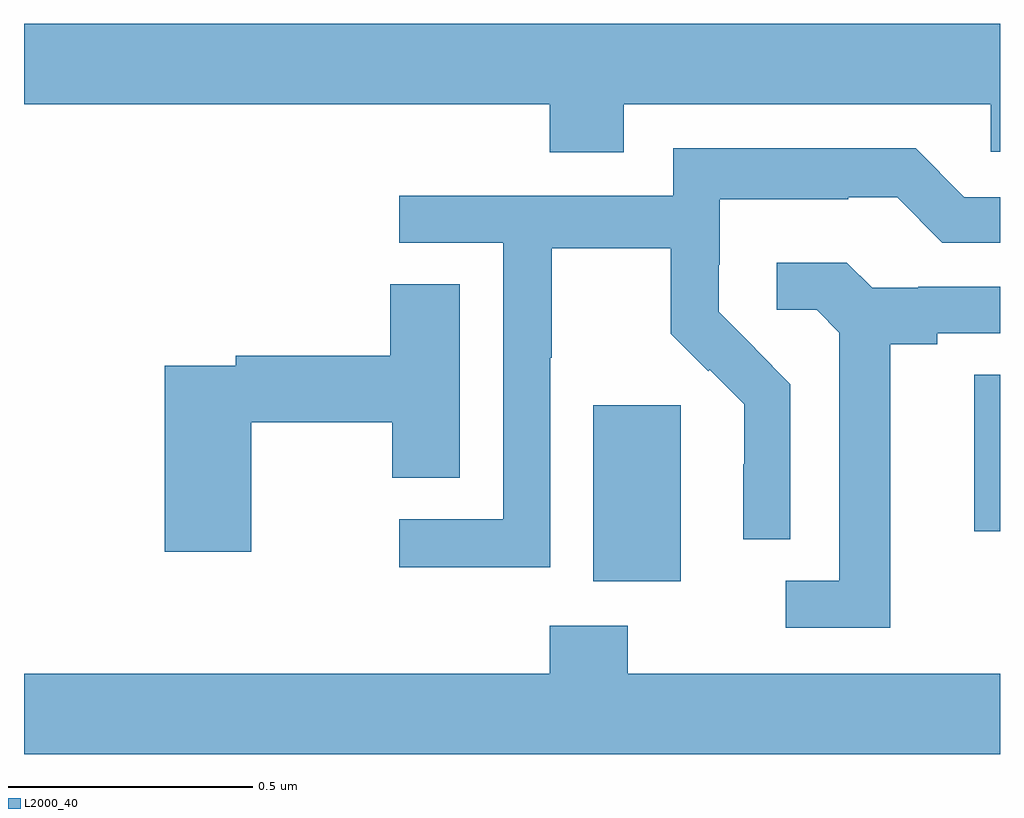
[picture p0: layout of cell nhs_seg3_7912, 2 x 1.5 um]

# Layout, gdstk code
import gdstk
lib = gdstk.Library(unit=1e-6, precision=1e-09)
def R(c, l, rs):  # rectangles x0, y0, x1, y1
    for r in rs: c.add(gdstk.rectangle(r[:2], r[2:], *l))
def P(c, l, *ps):  # polygons
    for p in ps: c.add(gdstk.Polygon(p, *l))
L2000_40 = (2000, 40)

nhs_seg3_7912 = lib.new_cell('nhs_seg3_7912')
R(nhs_seg3_7912, L2000_40, [(210.167,723.914,210.346,724.275), (210.947,724.017,211,724.337)])
P(nhs_seg3_7912, L2000_40, [(210.229,724.892),(210.981,724.892),(210.981,724.794),(211,724.794),(211,725.056),(209,725.056),(209,724.892),(210.077,724.892),(210.077,724.793),(210.229,724.793)],
  [(210.078,724.372),(210.081,724.372),(210.081,724.596),(210.325,724.596),(210.325,724.421),(210.402,724.344),(210.405,724.347),(210.476,724.277),(210.476,724.154),(210.474,724.154),(210.474,724),(210.57,724),(210.57,724.318),(210.497,724.391),(210.498,724.392),(210.424,724.466),(210.424,724.563),(210.426,724.563),(210.426,724.697),(210.689,724.697),(210.689,724.701),(210.789,724.701),(210.882,724.608),(211,724.608),(211,724.701),(210.927,724.701),(210.827,724.801),(210.33,724.801),(210.33,724.704),(209.769,724.704),(209.769,724.608),(209.982,724.608),(209.982,724.041),(209.769,724.041),(209.769,723.943),(210.078,723.943)],
  [(210.775,724.4),(210.871,724.4),(210.871,724.422),(211,724.422),(211,724.518),(210.832,724.518),(210.832,724.515),(210.738,724.515),(210.686,724.567),(210.543,724.567),(210.543,724.47),(210.624,724.47),(210.671,724.423),(210.671,723.915),(210.561,723.915),(210.561,723.819),(210.775,723.819)],
  [(209.466,724.24),(209.755,724.24),(209.755,724.126),(209.893,724.126),(209.893,724.523),(209.75,724.523),(209.75,724.376),(209.434,724.376),(209.434,724.356),(209.288,724.356),(209.288,723.975),(209.466,723.975)],
  [(211,723.724),(210.237,723.724),(210.237,723.823),(210.077,723.823),(210.077,723.724),(209,723.724),(209,723.56),(211,723.56)])

lib.write_gds('nhs_seg3_7912.gds')
